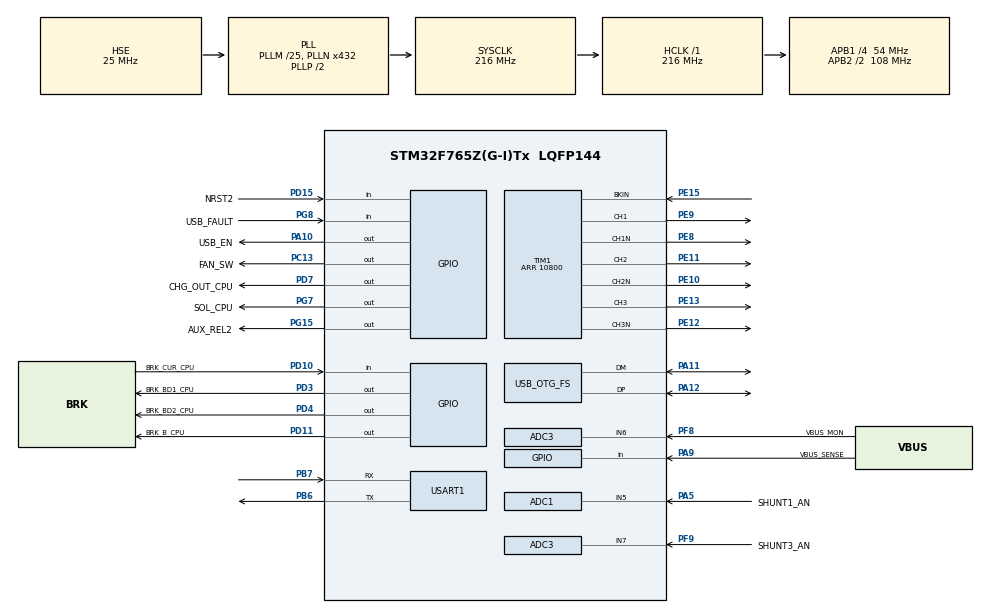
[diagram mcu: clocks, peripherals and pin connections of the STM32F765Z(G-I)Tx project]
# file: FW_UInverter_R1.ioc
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ADC1.Channel-0\#ChannelRegularConversion=ADC_CHANNEL_5
ADC1.NbrOfConversionFlag=1
ADC1.Rank-0\#ChannelRegularConversion=1
ADC1.SamplingTime-0\#ChannelRegularConversion=ADC_SAMPLETIME_3CYCLES
ADC1.master=1
ADC3.Channel-0\#ChannelRegularConversion=ADC_CHANNEL_6
ADC3.NbrOfConversionFlag=1
ADC3.Rank-0\#ChannelRegularConversion=1
ADC3.SamplingTime-0\#ChannelRegularConversion=ADC_SAMPLETIME_3CYCLES
CORTEX_M7.default_mode_Activation=1
FREERTOS.Tasks01=myTask01,0,512,StartTask01,Default,NULL,Dynamic,NULL,NULL;myTask02,-3,512,StartTask02,Default,NULL,Dynamic,NULL,NULL;myTask03,-3,256,StartTask03,Default,NULL,Dynamic,NULL,NULL;myTask05,1,256,StartTask05,Default,NULL,Dynamic,NULL,NULL
FREERTOS.configUSE_NEWLIB_REENTRANT=1
Mcu.Family=STM32F7
Mcu.Name=STM32F765Z(G-I)Tx
Mcu.Package=LQFP144
NVIC.OTG_FS_IRQn=true\:5\:0\:false\:false\:true\:true\:false\:true\:true
NVIC.PriorityGroup=NVIC_PRIORITYGROUP_4
NVIC.TIM3_IRQn=true\:15\:0\:false\:false\:true\:false\:false\:true\:true
NVIC.TimeBase=TIM3_IRQn
NVIC.TimeBaseIP=TIM3
NVIC.USART1_IRQn=true\:5\:0\:false\:false\:true\:true\:true\:true\:true
PA10.GPIO_Label=USB_EN
PA10.Signal=GPIO_Output
PA11.Mode=Device_Only
PA11.Signal=USB_OTG_FS_DM
PA12.Mode=Device_Only
PA12.Signal=USB_OTG_FS_DP
PA13.Mode=JTAG_5_pins
PA13.Signal=SYS_JTMS-SWDIO
PA14.Mode=JTAG_5_pins
PA14.Signal=SYS_JTCK-SWCLK
PA15.Mode=JTAG_5_pins
PA15.Signal=SYS_JTDI
PA5.GPIO_Label=SHUNT1_AN
PA5.Signal=ADCx_IN5
PA9.GPIO_Label=VBUS_SENSE
PA9.Signal=GPIO_Input
PB3.Mode=JTAG_5_pins
PB3.Signal=SYS_JTDO-SWO
PB4.Mode=JTAG_5_pins
PB4.Signal=SYS_JTRST
PB6.Mode=Asynchronous
PB6.Signal=USART1_TX
PB7.GPIO_PuPd=GPIO_PULLUP
PB7.Mode=Asynchronous
PB7.Signal=USART1_RX
PC13.GPIO_Label=FAN_SW
PC13.Signal=GPIO_Output
PC14/OSC32_IN.Mode=LSE-External-Oscillator
PC14/OSC32_IN.Signal=RCC_OSC32_IN
PC15/OSC32_OUT.Mode=LSE-External-Oscillator
PC15/OSC32_OUT.Signal=RCC_OSC32_OUT
PD10.GPIO_Label=BRK_CUR_CPU
PD10.Signal=GPIO_Input
PD11.GPIO_Label=BRK_B_CPU
PD11.Signal=GPIO_Output
PD15.GPIO_Label=NRST2
PD15.Signal=GPIO_Input
PD3.GPIO_Label=BRK_BD1_CPU
PD3.Signal=GPIO_Output
PD4.GPIO_Label=BRK_BD2_CPU
PD4.Signal=GPIO_Output
PD7.GPIO_Label=CHG_OUT_CPU
PD7.Signal=GPIO_Output
PE10.GPIO_PuPd=GPIO_PULLUP
PE10.GPIO_Speed=GPIO_SPEED_FREQ_HIGH
PE10.Mode=PWM Generation2 CH2 CH2N
PE10.Signal=TIM1_CH2N
PE11.GPIO_PuPd=GPIO_PULLUP
PE11.GPIO_Speed=GPIO_SPEED_FREQ_HIGH
PE11.Signal=S_TIM1_CH2
PE12.GPIO_PuPd=GPIO_PULLUP
PE12.GPIO_Speed=GPIO_SPEED_FREQ_HIGH
PE12.Mode=PWM Generation3 CH3 CH3N
PE12.Signal=TIM1_CH3N
PE13.GPIO_PuPd=GPIO_PULLUP
PE13.GPIO_Speed=GPIO_SPEED_FREQ_HIGH
PE13.Signal=S_TIM1_CH3
PE15.GPIO_PuPd=GPIO_PULLUP
PE15.Mode=Activate-Break-Input
PE15.Signal=TIM1_BKIN
PE8.GPIO_PuPd=GPIO_PULLUP
PE8.GPIO_Speed=GPIO_SPEED_FREQ_HIGH
PE8.Mode=PWM Generation1 CH1 CH1N
PE8.Signal=TIM1_CH1N
PE9.GPIO_PuPd=GPIO_PULLUP
PE9.GPIO_Speed=GPIO_SPEED_FREQ_HIGH
PE9.Signal=S_TIM1_CH1
PF8.GPIO_Label=VBUS_MON
PF8.Mode=IN6
PF8.Signal=ADC3_IN6
PF9.GPIO_Label=SHUNT3_AN
PF9.Mode=IN7
PF9.Signal=ADC3_IN7
PG15.GPIO_Label=AUX_REL2
PG15.Signal=GPIO_Output
PG7.GPIO_Label=SOL_CPU
PG7.PinState=GPIO_PIN_SET
PG7.Signal=GPIO_Output
PG8.GPIO_Label=USB_FAULT
PG8.Signal=GPIO_Input
PH0/OSC_IN.Mode=HSE-External-Oscillator
PH0/OSC_IN.Signal=RCC_OSC_IN
PH1/OSC_OUT.Mode=HSE-External-Oscillator
PH1/OSC_OUT.Signal=RCC_OSC_OUT
ProjectManager.HeapSize=0x200
ProjectManager.StackSize=0x400
ProjectManager.TargetToolchain=STM32CubeIDE
RCC.AHBFreq_Value=216000000
RCC.APB1CLKDivider=RCC_HCLK_DIV4
RCC.APB1Freq_Value=54000000
RCC.APB1TimFreq_Value=108000000
RCC.APB2CLKDivider=RCC_HCLK_DIV2
RCC.APB2Freq_Value=108000000
RCC.APB2TimFreq_Value=216000000
RCC.CortexFreq_Value=216000000
RCC.HCLKFreq_Value=216000000
RCC.HSE_VALUE=25000000
RCC.HSI_VALUE=16000000
RCC.PLLM=25
RCC.PLLN=432
RCC.PLLQ=9
RCC.SYSCLKFreq_VALUE=216000000
RCC.SYSCLKSource=RCC_SYSCLKSOURCE_PLLCLK
RCC.USBFreq_Value=48000000
RCC.VCOOutputFreq_Value=432000000
SH.ADCx_IN5.0=ADC1_IN5,IN5
SH.S_TIM1_CH1.0=TIM1_CH1,PWM Generation1 CH1 CH1N
SH.S_TIM1_CH2.0=TIM1_CH2,PWM Generation2 CH2 CH2N
SH.S_TIM1_CH3.0=TIM1_CH3,PWM Generation3 CH3 CH3N
TIM1.AutoReloadPreload=TIM_AUTORELOAD_PRELOAD_ENABLE
TIM1.BreakFilter=4
TIM1.BreakPolarity=TIM_BREAKPOLARITY_LOW
TIM1.BreakState=TIM_BREAK_ENABLE
TIM1.Channel-PWM\ Generation1\ CH1\ CH1N=TIM_CHANNEL_1
TIM1.Channel-PWM\ Generation2\ CH2\ CH2N=TIM_CHANNEL_2
TIM1.Channel-PWM\ Generation3\ CH3\ CH3N=TIM_CHANNEL_3
TIM1.CounterMode=TIM_COUNTERMODE_CENTERALIGNED1
TIM1.DeadTime=172
TIM1.OCIdleState_1=TIM_OCIDLESTATE_SET
TIM1.OCIdleState_2=TIM_OCIDLESTATE_SET
TIM1.OCIdleState_3=TIM_OCIDLESTATE_SET
TIM1.OCMode_PWM-PWM\ Generation1\ CH1\ CH1N=TIM_OCMODE_PWM2
TIM1.OCMode_PWM-PWM\ Generation2\ CH2\ CH2N=TIM_OCMODE_PWM2
TIM1.OCMode_PWM-PWM\ Generation3\ CH3\ CH3N=TIM_OCMODE_PWM2
TIM1.OCNIdleState_1=TIM_OCNIDLESTATE_SET
TIM1.OCNIdleState_2=TIM_OCNIDLESTATE_SET
TIM1.OCNIdleState_3=TIM_OCNIDLESTATE_SET
TIM1.OCNPolarity_1=TIM_OCNPOLARITY_LOW
TIM1.OCNPolarity_2=TIM_OCNPOLARITY_LOW
TIM1.OCNPolarity_3=TIM_OCNPOLARITY_LOW
TIM1.OCPolarity_1=TIM_OCPOLARITY_LOW
TIM1.OCPolarity_2=TIM_OCPOLARITY_LOW
TIM1.OCPolarity_3=TIM_OCPOLARITY_LOW
TIM1.OffStateIDLEMode=TIM_OSSI_ENABLE
TIM1.OffStateRunMode=TIM_OSSR_ENABLE
TIM1.Period=10800
TIM1.RepetitionCounter=1
TIM1.TIM_MasterOutputTrigger=TIM_TRGO_UPDATE
USART1.VirtualMode-Asynchronous=VM_ASYNC
USB_DEVICE.CLASS_NAME_FS=CDC
USB_DEVICE.VirtualMode-CDC_FS=Cdc
USB_DEVICE.VirtualModeFS=Cdc_FS
USB_OTG_FS.VirtualMode=Device_Only
VP_FREERTOS_VS_CMSIS_V1.Mode=CMSIS_V1
VP_SYS_VS_tim3.Mode=TIM3
VP_USB_DEVICE_VS_USB_DEVICE_CDC_FS.Mode=CDC_FS
board=custom

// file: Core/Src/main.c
/* USER CODE BEGIN Header */
/**
  ******************************************************************************
  * @file    main.c
  * @brief   UltraLogic R1 — main application, FreeRTOS tasks, peripheral init
  *
  * @details
  *   Task01 (Normal)      — USB CDC init, SVPWM/ADC init, 1 Hz telemetry
  *   Task02 (Idle)        — Display poll (5 ms), VBUS telemetry (100 ms)
  *   Task03 (Idle)        — Drive state machine tick (50 ms)
  *   Task05 (AboveNormal) — DS1232 watchdog heartbeat (50 ms)
  *
  *   Peripheral init order in Task01:
  *     1. USB CDC + PHY enable
  *     2. Display UART (USART1)
  *     3. ADC injected channels (must precede SVPWM)
  *     4. SVPWM timer (counter on, MOE off)
  *
  * @company PE Info
  * @author  Umit Kayacik
  * @date    2026
  ******************************************************************************
  */
/* USER CODE END Header */
#include "main.h"
#include "cmsis_os.h"
#include "usb_device.h"

/* USER CODE BEGIN Includes */
#include "ul_drivers.h"
#include "ul_display.h"
#include "usbd_cdc_if.h"
#include <stdio.h>
/* USER CODE END Includes */

ADC_HandleTypeDef hadc1;
ADC_HandleTypeDef hadc3;

TIM_HandleTypeDef htim1;

UART_HandleTypeDef huart1;

osThreadId myTask01Handle;
osThreadId myTask02Handle;
osThreadId myTask03Handle;
osThreadId myTask05Handle;

void SystemClock_Config(void);
static void MPU_Config(void);
static void MX_GPIO_Init(void);
static void MX_ADC3_Init(void);
static void MX_TIM1_Init(void);
static void MX_ADC1_Init(void);
static void MX_USART1_UART_Init(void);
void StartTask01(void const * argument);
void StartTask02(void const * argument);
void StartTask03(void const * argument);
void StartTask05(void const * argument);

int main(void)
{

  /* MPU Configuration--------------------------------------------------------*/
  MPU_Config();

  /* MCU Configuration--------------------------------------------------------*/

  /* Reset of all peripherals, Initializes the Flash interface and the Systick. */
  HAL_Init();

  /* Configure the system clock */
  SystemClock_Config();

  /* Initialize all configured peripherals */
  MX_GPIO_Init();
  MX_ADC3_Init();
  MX_TIM1_Init();
  MX_ADC1_Init();
  MX_USART1_UART_Init();

  /* Create the thread(s) */
  /* definition and creation of myTask01 */
  osThreadDef(myTask01, StartTask01, osPriorityNormal, 0, 512);
  myTask01Handle = osThreadCreate(osThread(myTask01), NULL);

  /* definition and creation of myTask02 */
  osThreadDef(myTask02, StartTask02, osPriorityIdle, 0, 512);
  myTask02Handle = osThreadCreate(osThread(myTask02), NULL);

  /* definition and creation of myTask03 */
  osThreadDef(myTask03, StartTask03, osPriorityIdle, 0, 256);
  myTask03Handle = osThreadCreate(osThread(myTask03), NULL);

  /* definition and creation of myTask05 */
  osThreadDef(myTask05, StartTask05, osPriorityAboveNormal, 0, 256);
  myTask05Handle = osThreadCreate(osThread(myTask05), NULL);

  /* Start scheduler */
  osKernelStart();

  /* We should never get here as control is now taken by the scheduler */

  /* Infinite loop */
  while (1)
  {

  }
}

void SystemClock_Config(void)
{
  RCC_OscInitTypeDef RCC_OscInitStruct = {0};
  RCC_ClkInitTypeDef RCC_ClkInitStruct = {0};

  /** Configure LSE Drive Capability
  */
  HAL_PWR_EnableBkUpAccess();

  /** Configure the main internal regulator output voltage
  */
  __HAL_RCC_PWR_CLK_ENABLE();
  __HAL_PWR_VOLTAGESCALING_CONFIG(PWR_REGULATOR_VOLTAGE_SCALE1);

  /** Initializes the RCC Oscillators according to the specified parameters
  * in the RCC_OscInitTypeDef structure.
  */
  RCC_OscInitStruct.OscillatorType = RCC_OSCILLATORTYPE_HSE;
  RCC_OscInitStruct.HSEState = RCC_HSE_ON;
  RCC_OscInitStruct.PLL.PLLState = RCC_PLL_ON;
  RCC_OscInitStruct.PLL.PLLSource = RCC_PLLSOURCE_HSE;
  RCC_OscInitStruct.PLL.PLLM = 25;
  RCC_OscInitStruct.PLL.PLLN = 432;
  RCC_OscInitStruct.PLL.PLLP = RCC_PLLP_DIV2;
  RCC_OscInitStruct.PLL.PLLQ = 9;
  RCC_OscInitStruct.PLL.PLLR = 2;
  if (HAL_RCC_OscConfig(&RCC_OscInitStruct) != HAL_OK)
  {
    Error_Handler();
  }

  /** Activate the Over-Drive mode
  */
  if (HAL_PWREx_EnableOverDrive() != HAL_OK)
  {
    Error_Handler();
  }

  /** Initializes the CPU, AHB and APB buses clocks
  */
  RCC_ClkInitStruct.ClockType = RCC_CLOCKTYPE_HCLK|RCC_CLOCKTYPE_SYSCLK
                              |RCC_CLOCKTYPE_PCLK1|RCC_CLOCKTYPE_PCLK2;
  RCC_ClkInitStruct.SYSCLKSource = RCC_SYSCLKSOURCE_PLLCLK;
  RCC_ClkInitStruct.AHBCLKDivider = RCC_SYSCLK_DIV1;
  RCC_ClkInitStruct.APB1CLKDivider = RCC_HCLK_DIV4;
  RCC_ClkInitStruct.APB2CLKDivider = RCC_HCLK_DIV2;

  if (HAL_RCC_ClockConfig(&RCC_ClkInitStruct, FLASH_LATENCY_7) != HAL_OK)
  {
    Error_Handler();
  }
}

static void MX_ADC1_Init(void)
{

  ADC_ChannelConfTypeDef sConfig = {0};

  /** Configure the global features of the ADC (Clock, Resolution, Data Alignment and number of conversion)
  */
  hadc1.Instance = ADC1;
  hadc1.Init.ClockPrescaler = ADC_CLOCK_SYNC_PCLK_DIV4;
  hadc1.Init.Resolution = ADC_RESOLUTION_12B;
  hadc1.Init.ScanConvMode = ADC_SCAN_DISABLE;
  hadc1.Init.ContinuousConvMode = DISABLE;
  hadc1.Init.DiscontinuousConvMode = DISABLE;
  hadc1.Init.ExternalTrigConvEdge = ADC_EXTERNALTRIGCONVEDGE_NONE;
  hadc1.Init.ExternalTrigConv = ADC_SOFTWARE_START;
  hadc1.Init.DataAlign = ADC_DATAALIGN_RIGHT;
  hadc1.Init.NbrOfConversion = 1;
  hadc1.Init.DMAContinuousRequests = DISABLE;
  hadc1.Init.EOCSelection = ADC_EOC_SINGLE_CONV;
  if (HAL_ADC_Init(&hadc1) != HAL_OK)
  {
    Error_Handler();
  }

  /** Configure for the selected ADC regular channel its corresponding rank in the sequencer and its sample time.
  */
  sConfig.Channel = ADC_CHANNEL_5;
  sConfig.Rank = ADC_REGULAR_RANK_1;
  sConfig.SamplingTime = ADC_SAMPLETIME_3CYCLES;
  if (HAL_ADC_ConfigChannel(&hadc1, &sConfig) != HAL_OK)
  {
    Error_Handler();
  }

}

static void MX_ADC3_Init(void)
{

  ADC_ChannelConfTypeDef sConfig = {0};

  /** Configure the global features of the ADC (Clock, Resolution, Data Alignment and number of conversion)
  */
  hadc3.Instance = ADC3;
  hadc3.Init.ClockPrescaler = ADC_CLOCK_SYNC_PCLK_DIV4;
  hadc3.Init.Resolution = ADC_RESOLUTION_12B;
  hadc3.Init.ScanConvMode = ADC_SCAN_ENABLE;
  hadc3.Init.ContinuousConvMode = DISABLE;
  hadc3.Init.DiscontinuousConvMode = DISABLE;
  hadc3.Init.ExternalTrigConvEdge = ADC_EXTERNALTRIGCONVEDGE_NONE;
  hadc3.Init.ExternalTrigConv = ADC_SOFTWARE_START;
  hadc3.Init.DataAlign = ADC_DATAALIGN_RIGHT;
  hadc3.Init.NbrOfConversion = 1;
  hadc3.Init.DMAContinuousRequests = DISABLE;
  hadc3.Init.EOCSelection = ADC_EOC_SINGLE_CONV;
  if (HAL_ADC_Init(&hadc3) != HAL_OK)
  {
    Error_Handler();
  }

  /** Configure for the selected ADC regular channel its corresponding rank in the sequencer and its sample time.
  */
  sConfig.Channel = ADC_CHANNEL_6;
  sConfig.Rank = ADC_REGULAR_RANK_1;
  sConfig.SamplingTime = ADC_SAMPLETIME_3CYCLES;
  if (HAL_ADC_ConfigChannel(&hadc3, &sConfig) != HAL_OK)
  {
    Error_Handler();
  }
  /* USER CODE BEGIN ADC3_Init 2 */
  /* IMPORTANT: CubeMX must set ADC3 Scan Conversion Mode = ENABLE.
     ADC3 has 2 injected channels (SHUNT3 + VBUS_MON); scan mode is
     required for the HAL to honour InjectedNbrOfConversion > 1.
     If CubeMX regenerates with Scan=Disable, JDR2 reads 0 → 1452 V ghost. */
  hadc3.Init.ScanConvMode = ADC_SCAN_ENABLE;
  HAL_ADC_Init(&hadc3);
  /* USER CODE END ADC3_Init 2 */

}

static void MX_TIM1_Init(void)
{

  TIM_MasterConfigTypeDef sMasterConfig = {0};
  TIMEx_BreakInputConfigTypeDef sBreakInputConfig = {0};
  TIM_OC_InitTypeDef sConfigOC = {0};
  TIM_BreakDeadTimeConfigTypeDef sBreakDeadTimeConfig = {0};

  htim1.Instance = TIM1;
  htim1.Init.Prescaler = 0;
  htim1.Init.CounterMode = TIM_COUNTERMODE_CENTERALIGNED1;
  htim1.Init.Period = 10800;
  htim1.Init.ClockDivision = TIM_CLOCKDIVISION_DIV1;
  htim1.Init.RepetitionCounter = 1;
  htim1.Init.AutoReloadPreload = TIM_AUTORELOAD_PRELOAD_ENABLE;
  if (HAL_TIM_PWM_Init(&htim1) != HAL_OK)
  {
    Error_Handler();
  }
  sMasterConfig.MasterOutputTrigger = TIM_TRGO_UPDATE;
  sMasterConfig.MasterOutputTrigger2 = TIM_TRGO2_RESET;
  sMasterConfig.MasterSlaveMode = TIM_MASTERSLAVEMODE_DISABLE;
  if (HAL_TIMEx_MasterConfigSynchronization(&htim1, &sMasterConfig) != HAL_OK)
  {
    Error_Handler();
  }
  sBreakInputConfig.Source = TIM_BREAKINPUTSOURCE_BKIN;
  sBreakInputConfig.Enable = TIM_BREAKINPUTSOURCE_ENABLE;
  /* POLARITY_HIGH = BKINP=0 = non-inverted; combined with BreakPolarity LOW
     below, break fires when PE15 goes LOW (CUR_TRIP active) */
  sBreakInputConfig.Polarity = TIM_BREAKINPUTSOURCE_POLARITY_HIGH;
  if (HAL_TIMEx_ConfigBreakInput(&htim1, TIM_BREAKINPUT_BRK, &sBreakInputConfig) != HAL_OK)
  {
    Error_Handler();
  }
  sConfigOC.OCMode = TIM_OCMODE_PWM2;
  sConfigOC.Pulse = 0;
  sConfigOC.OCPolarity = TIM_OCPOLARITY_LOW;
  sConfigOC.OCNPolarity = TIM_OCNPOLARITY_LOW;
  sConfigOC.OCFastMode = TIM_OCFAST_DISABLE;
  sConfigOC.OCIdleState = TIM_OCIDLESTATE_SET;
  sConfigOC.OCNIdleState = TIM_OCNIDLESTATE_SET;
  if (HAL_TIM_PWM_ConfigChannel(&htim1, &sConfigOC, TIM_CHANNEL_1) != HAL_OK)
  {
    Error_Handler();
  }
  if (HAL_TIM_PWM_ConfigChannel(&htim1, &sConfigOC, TIM_CHANNEL_2) != HAL_OK)
  {
    Error_Handler();
  }
  if (HAL_TIM_PWM_ConfigChannel(&htim1, &sConfigOC, TIM_CHANNEL_3) != HAL_OK)
  {
    Error_Handler();
  }
  sBreakDeadTimeConfig.OffStateRunMode = TIM_OSSR_ENABLE;
  sBreakDeadTimeConfig.OffStateIDLEMode = TIM_OSSI_ENABLE;
  sBreakDeadTimeConfig.LockLevel = TIM_LOCKLEVEL_OFF;
  sBreakDeadTimeConfig.DeadTime = 172;
  sBreakDeadTimeConfig.BreakState = TIM_BREAK_ENABLE;
  sBreakDeadTimeConfig.BreakPolarity = TIM_BREAKPOLARITY_LOW;
  sBreakDeadTimeConfig.BreakFilter = 4;
  sBreakDeadTimeConfig.Break2State = TIM_BREAK2_DISABLE;
  sBreakDeadTimeConfig.Break2Polarity = TIM_BREAK2POLARITY_HIGH;
  sBreakDeadTimeConfig.Break2Filter = 0;
  sBreakDeadTimeConfig.AutomaticOutput = TIM_AUTOMATICOUTPUT_DISABLE;
  if (HAL_TIMEx_ConfigBreakDeadTime(&htim1, &sBreakDeadTimeConfig) != HAL_OK)
  {
    Error_Handler();
  }
  HAL_TIM_MspPostInit(&htim1);

}

static void MX_USART1_UART_Init(void)
{

  huart1.Instance = USART1;
  huart1.Init.BaudRate = 115200;
  huart1.Init.WordLength = UART_WORDLENGTH_8B;
  huart1.Init.StopBits = UART_STOPBITS_1;
  huart1.Init.Parity = UART_PARITY_NONE;
  huart1.Init.Mode = UART_MODE_TX_RX;
  huart1.Init.HwFlowCtl = UART_HWCONTROL_NONE;
  huart1.Init.OverSampling = UART_OVERSAMPLING_16;
  huart1.Init.OneBitSampling = UART_ONE_BIT_SAMPLE_DISABLE;
  huart1.AdvancedInit.AdvFeatureInit = UART_ADVFEATURE_NO_INIT;
  if (HAL_UART_Init(&huart1) != HAL_OK)
  {
    Error_Handler();
  }

}

static void MX_GPIO_Init(void)
{
  GPIO_InitTypeDef GPIO_InitStruct = {0};

  /* GPIO Ports Clock Enable */
  __HAL_RCC_GPIOC_CLK_ENABLE();
  __HAL_RCC_GPIOF_CLK_ENABLE();
  __HAL_RCC_GPIOH_CLK_ENABLE();
  __HAL_RCC_GPIOA_CLK_ENABLE();
  __HAL_RCC_GPIOE_CLK_ENABLE();
  __HAL_RCC_GPIOD_CLK_ENABLE();
  __HAL_RCC_GPIOG_CLK_ENABLE();
  __HAL_RCC_GPIOB_CLK_ENABLE();

  /*Configure GPIO pin Output Level */
  HAL_GPIO_WritePin(FAN_SW_GPIO_Port, FAN_SW_Pin, GPIO_PIN_RESET);

  /*Configure GPIO pin Output Level */
  HAL_GPIO_WritePin(GPIOD, BRK_B_CPU_Pin|BRK_BD1_CPU_Pin|BRK_BD2_CPU_Pin|CHG_OUT_CPU_Pin, GPIO_PIN_RESET);

  /*Configure GPIO pin Output Level */
  HAL_GPIO_WritePin(SOL_CPU_GPIO_Port, SOL_CPU_Pin, GPIO_PIN_SET);

  /*Configure GPIO pin Output Level */
  HAL_GPIO_WritePin(USB_EN_GPIO_Port, USB_EN_Pin, GPIO_PIN_RESET);

  /*Configure GPIO pin Output Level */
  HAL_GPIO_WritePin(AUX_REL2_GPIO_Port, AUX_REL2_Pin, GPIO_PIN_RESET);

  /*Configure GPIO pin : FAN_SW_Pin */
  GPIO_InitStruct.Pin = FAN_SW_Pin;
  GPIO_InitStruct.Mode = GPIO_MODE_OUTPUT_PP;
  GPIO_InitStruct.Pull = GPIO_NOPULL;
  GPIO_InitStruct.Speed = GPIO_SPEED_FREQ_LOW;
  HAL_GPIO_Init(FAN_SW_GPIO_Port, &GPIO_InitStruct);

  /*Configure GPIO pins : BRK_CUR_CPU_Pin NRST2_Pin */
  GPIO_InitStruct.Pin = BRK_CUR_CPU_Pin|NRST2_Pin;
  GPIO_InitStruct.Mode = GPIO_MODE_INPUT;
  GPIO_InitStruct.Pull = GPIO_NOPULL;
  HAL_GPIO_Init(GPIOD, &GPIO_InitStruct);

  /*Configure GPIO pins : BRK_B_CPU_Pin BRK_BD1_CPU_Pin BRK_BD2_CPU_Pin CHG_OUT_CPU_Pin */
  GPIO_InitStruct.Pin = BRK_B_CPU_Pin|BRK_BD1_CPU_Pin|BRK_BD2_CPU_Pin|CHG_OUT_CPU_Pin;
  GPIO_InitStruct.Mode = GPIO_MODE_OUTPUT_PP;
  GPIO_InitStruct.Pull = GPIO_NOPULL;
  GPIO_InitStruct.Speed = GPIO_SPEED_FREQ_LOW;
  HAL_GPIO_Init(GPIOD, &GPIO_InitStruct);

  /*Configure GPIO pins : SOL_CPU_Pin AUX_REL2_Pin */
  GPIO_InitStruct.Pin = SOL_CPU_Pin|AUX_REL2_Pin;
  GPIO_InitStruct.Mode = GPIO_MODE_OUTPUT_PP;
  GPIO_InitStruct.Pull = GPIO_NOPULL;
  GPIO_InitStruct.Speed = GPIO_SPEED_FREQ_LOW;
  HAL_GPIO_Init(GPIOG, &GPIO_InitStruct);

  /*Configure GPIO pin : USB_FAULT_Pin */
  GPIO_InitStruct.Pin = USB_FAULT_Pin;
  GPIO_InitStruct.Mode = GPIO_MODE_INPUT;
  GPIO_InitStruct.Pull = GPIO_NOPULL;
  HAL_GPIO_Init(USB_FAULT_GPIO_Port, &GPIO_InitStruct);

  /*Configure GPIO pin : VBUS_SENSE_Pin */
  GPIO_InitStruct.Pin = VBUS_SENSE_Pin;
  GPIO_InitStruct.Mode = GPIO_MODE_INPUT;
  GPIO_InitStruct.Pull = GPIO_NOPULL;
  HAL_GPIO_Init(VBUS_SENSE_GPIO_Port, &GPIO_InitStruct);

  /*Configure GPIO pin : USB_EN_Pin */
  GPIO_InitStruct.Pin = USB_EN_Pin;
  GPIO_InitStruct.Mode = GPIO_MODE_OUTPUT_PP;
  GPIO_InitStruct.Pull = GPIO_NOPULL;
  GPIO_InitStruct.Speed = GPIO_SPEED_FREQ_LOW;
  HAL_GPIO_Init(USB_EN_GPIO_Port, &GPIO_InitStruct);

  /* USER CODE BEGIN MX_GPIO_Init_2 */

  /* Dynamic braking chopper outputs — OFF at boot (PD13 = BRK_ON, PD14 = BRK_EN) */
  HAL_GPIO_WritePin(GPIOD, BRK_ON_Pin | BRK_EN_Pin, GPIO_PIN_RESET);
  GPIO_InitStruct.Pin = BRK_ON_Pin | BRK_EN_Pin;
  GPIO_InitStruct.Mode = GPIO_MODE_OUTPUT_PP;
  GPIO_InitStruct.Pull = GPIO_NOPULL;
  GPIO_InitStruct.Speed = GPIO_SPEED_FREQ_LOW;
  HAL_GPIO_Init(GPIOD, &GPIO_InitStruct);

  /* USER CODE END MX_GPIO_Init_2 */
}

/* USER CODE BEGIN 4 */

/**
 * Format the front-panel display string based on drive state.
 * Returns a 6-char string for the 14-segment display module.
 * In RUN state, shows live bus voltage for operator visibility.
 */
static const char *_format_display(void)
{
    static char buf[8];
    uint16_t ff = UL_Fault_Get();

    if (ff != FAULT_NONE) {
        uint8_t dc = UL_Diag_GetCode();
        if (dc != DIAG_NONE)
            snprintf(buf, sizeof(buf), "F- %02u", dc);
        else
            snprintf(buf, sizeof(buf), "F %04X", (unsigned)ff);
        return buf;
    }

    uint8_t ry = UL_ChargeSwitch_State();

    switch (UL_Drive_GetState()) {
    case DRV_STATE_IDLE:      return ry ? "RLY ON" : " IDLE ";
    case DRV_STATE_PRECHARGE: return ry ? "CHG ON" : "CHG OF";
    case DRV_STATE_READY:     return ry ? "RDY ON" : "RDY OF";
    case DRV_STATE_RUN:
        snprintf(buf, sizeof(buf), "%5.0f", (double)UL_Meas_Get()->v_bus);
        return buf;
    case DRV_STATE_STOPPING:  return " STOP ";
    case DRV_STATE_FAULT:     return "FAULT ";
    default:                  return "------";
    }
}

/* USER CODE END 4 */

/* USER CODE BEGIN Header_StartTask01 */
/**
  * @brief  Task01 — USB CDC init + periodic drive status telemetry (1 Hz)
  *
  *         Also performs one-time hardware init:
  *           1. USB CDC & PHY enable
  *           2. ADC injected channels (must precede SVPWM to avoid stale reads)
  *           3. SVPWM timer (counter starts but MOE stays off)
  *
  * @param  argument: Not used
  * @retval None
  */
/* USER CODE END Header_StartTask01 */
void StartTask01(void const * argument)
{
  /* init code for USB_DEVICE */
  MX_USB_DEVICE_Init();
  /* USER CODE BEGIN 5 */
  HAL_GPIO_WritePin(USB_EN_GPIO_Port, USB_EN_Pin, GPIO_PIN_SET);
  UL_Display_Init(&huart1);
  UL_ADC_InjectInit();
  UL_SVPWM_Init();

  static const char * const drv_names[] = {
      "IDLE", "PRCHG", "READY", "RUN", "STOP", "FAULT"
  };

  for(;;)
  {
    DrvState_t ds = UL_Drive_GetState();
    if ((int)ds < 0 || (int)ds > 5) ds = DRV_STATE_FAULT;
    uint16_t       ff   = UL_Fault_Get();
    const UL_Meas_t *m  = UL_Meas_Get();
    uint32_t       bdtr = UL_SVPWM_ReadBDTR();
    unsigned    cur_trip = !HAL_GPIO_ReadPin(BRK_CUR_CPU_GPIO_Port,
                                            BRK_CUR_CPU_Pin);
    uint8_t          dc  = UL_Diag_GetCode();
    unsigned         ry  = UL_ChargeSwitch_State();
    static char dbg[224];
    int n = snprintf(dbg, sizeof(dbg),
                     "$DRV,S:%s,F:%04X,V:%.1f,IU:%.2f,IW:%.2f,"
                     "S1:%u,S3:%u,BDTR:%08lX,MOE:%u,CT:%u,DC:%u,RY:%u\r\n",
                     drv_names[(int)ds],
                     (unsigned)ff,
                     (double)m->v_bus, (double)m->i_u, (double)m->i_w,
                     (unsigned)m->shunt1_raw, (unsigned)m->shunt3_raw,
                     (unsigned long)bdtr,
                     (unsigned)((bdtr >> 15) & 1U),
                     cur_trip,
                     (unsigned)dc,
                     ry);
    if (n > 0 && (size_t)n < sizeof(dbg))
        CDC_Transmit_FS((uint8_t *)dbg, (uint16_t)n);
    osDelay(DRV_TELEMETRY_MS);
  }
  /* USER CODE END 5 */
}

/* USER CODE BEGIN Header_StartTask02 */
/**
  * @brief  Task02 — Display communication + VBUS telemetry
  *
  *         Every 5 ms: polls display UART RX (button packets)
  *         Every 100 ms: sends display text + VBUS CDC telemetry
  *
  * @param  argument: Not used
  * @retval None
  */
/* USER CODE END Header_StartTask02 */
void StartTask02(void const * argument)
{
  /* USER CODE BEGIN StartTask02 */
  osDelay(1000);
  uint32_t tx_counter = 0;

  for(;;)
  {
    UL_Display_Poll();

    if (++tx_counter >= (DISP_TX_PERIOD_MS / 5U)) {
        tx_counter = 0;

        UL_Display_SendText(_format_display());

        const UL_Meas_t *m = UL_Meas_Get();
        float vbus = m->v_bus;
        if (vbus <= 0.0f) vbus = UL_ReadVbusMon();

        static char msg[64];
        int n = snprintf(msg, sizeof(msg),
                         "$VBUS,RAW:%u,V:%.1f\r\n",
                         (unsigned)m->vbus_raw, (double)vbus);
        CDC_Transmit_FS((uint8_t *)msg, (uint16_t)n);
    }

    osDelay(5);
  }
  /* USER CODE END StartTask02 */
}

/* USER CODE BEGIN Header_StartTask03 */
/**
  * @brief  Task03 — Drive state machine tick (every CHG_TICK_MS = 50 ms)
  *
  *         Manages: IDLE → PRECHARGE → READY → RUN → STOPPING → IDLE
  *         Also monitors fault conditions and triggers safe shutdown.
  *
  * @param  argument: Not used
  * @retval None
  */
/* USER CODE END Header_StartTask03 */
void StartTask03(void const * argument)
{
  /* USER CODE BEGIN StartTask03 */
  osDelay(500);

  for(;;)
  {
    UL_Charge_Tick();
    UL_Drive_Tick();
    osDelay(CHG_TICK_MS);
  }
  /* USER CODE END StartTask03 */
}

/* USER CODE BEGIN Header_StartTask05 */
/**
  * @brief  Task05 — DS1232 watchdog heartbeat (every 50 ms, above-normal priority)
  *
  *         Toggles SOL_CPU (PG7) to produce a falling edge for the DS1232
  *         MicroMonitor.  If this task starves for >150 ms the DS1232 asserts
  *         a system reset.
  *
  * @param  argument: Not used
  * @retval None
  */
/* USER CODE END Header_StartTask05 */
void StartTask05(void const * argument)
{
  /* USER CODE BEGIN StartTask05 */
  for(;;)
  {
    UL_Heartbeat_Toggle();
    osDelay(HEARTBEAT_PERIOD_MS);
  }
  /* USER CODE END StartTask05 */
}

 /* MPU Configuration */

void MPU_Config(void)
{
  MPU_Region_InitTypeDef MPU_InitStruct = {0};

  /* Disables the MPU */
  HAL_MPU_Disable();

  /** Initializes and configures the Region and the memory to be protected
  */
  MPU_InitStruct.Enable = MPU_REGION_ENABLE;
  MPU_InitStruct.Number = MPU_REGION_NUMBER0;
  MPU_InitStruct.BaseAddress = 0x0;
  MPU_InitStruct.Size = MPU_REGION_SIZE_4GB;
  MPU_InitStruct.SubRegionDisable = 0x87;
  MPU_InitStruct.TypeExtField = MPU_TEX_LEVEL0;
  MPU_InitStruct.AccessPermission = MPU_REGION_NO_ACCESS;
  MPU_InitStruct.DisableExec = MPU_INSTRUCTION_ACCESS_DISABLE;
  MPU_InitStruct.IsShareable = MPU_ACCESS_SHAREABLE;
  MPU_InitStruct.IsCacheable = MPU_ACCESS_NOT_CACHEABLE;
  MPU_InitStruct.IsBufferable = MPU_ACCESS_NOT_BUFFERABLE;

  HAL_MPU_ConfigRegion(&MPU_InitStruct);
  /* Enables the MPU */
  HAL_MPU_Enable(MPU_PRIVILEGED_DEFAULT);

}

void HAL_TIM_PeriodElapsedCallback(TIM_HandleTypeDef *htim)
{
  if (htim->Instance == TIM3)
  {
    HAL_IncTick();
  }
}

void Error_Handler(void)
{
  __disable_irq();
  while (1)
  {
  }
}

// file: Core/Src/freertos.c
/* USER CODE BEGIN Header */
/**
  ******************************************************************************
  * @file    freertos.c
  * @brief   FreeRTOS hooks — idle task memory, stack overflow handler
  *
  * @company PE Info
  * @author  Umit Kayacik
  * @date    2026
  ******************************************************************************
  * Copyright (c) 2026 PE Info.  All rights reserved.
  ******************************************************************************
  */
/* USER CODE END Header */

#include "FreeRTOS.h"
#include "task.h"
#include "main.h"

/* GetIdleTaskMemory prototype (linked to static allocation support) */
void vApplicationGetIdleTaskMemory( StaticTask_t **ppxIdleTaskTCBBuffer, StackType_t **ppxIdleTaskStackBuffer, uint32_t *pulIdleTaskStackSize );

/* USER CODE BEGIN GET_IDLE_TASK_MEMORY */
static StaticTask_t xIdleTaskTCBBuffer;
static StackType_t xIdleStack[configMINIMAL_STACK_SIZE];

void vApplicationGetIdleTaskMemory( StaticTask_t **ppxIdleTaskTCBBuffer, StackType_t **ppxIdleTaskStackBuffer, uint32_t *pulIdleTaskStackSize )
{
  *ppxIdleTaskTCBBuffer = &xIdleTaskTCBBuffer;
  *ppxIdleTaskStackBuffer = &xIdleStack[0];
  *pulIdleTaskStackSize = configMINIMAL_STACK_SIZE;
  /* place for user code */
}
/* USER CODE END GET_IDLE_TASK_MEMORY */

/* USER CODE BEGIN Application */

/**
 * Called by FreeRTOS when a stack overflow is detected.
 * Halts execution with interrupts disabled so the debugger can inspect
 * the offending task name and stack pointer.
 */
void vApplicationStackOverflowHook(TaskHandle_t xTask, char *pcTaskName)
{
    (void)xTask;
    (void)pcTaskName;
    __disable_irq();
    for (;;) { }
}

/* USER CODE END Application */
